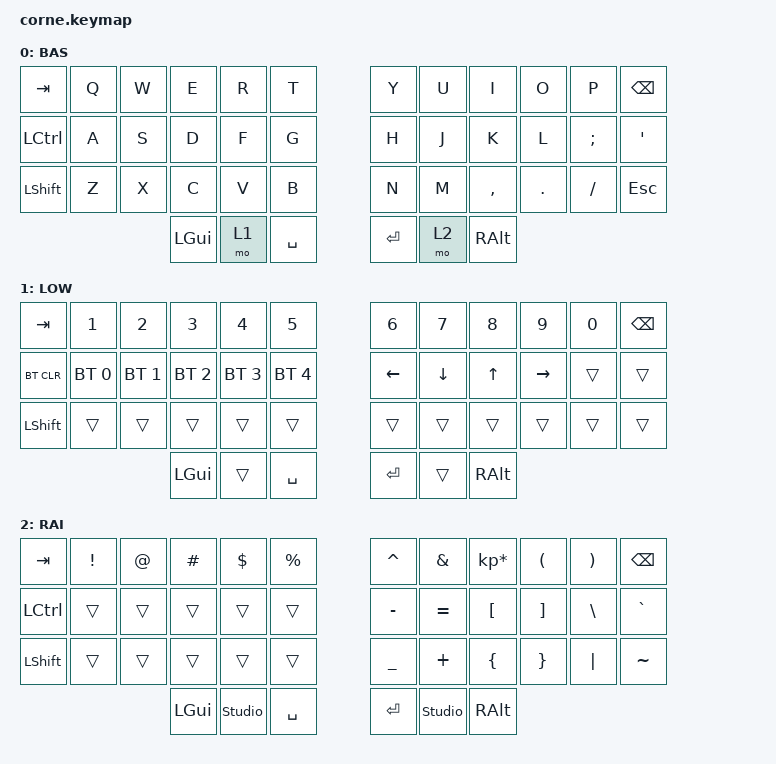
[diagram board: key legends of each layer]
/*
 * Copyright (c) 2020 The ZMK Contributors
 *
 * SPDX-License-Identifier: MIT
 */

#include <behaviors.dtsi>
#include <dt-bindings/zmk/keys.h>
#include <dt-bindings/zmk/bt.h>
#include <dt-bindings/zmk/outputs.h>
#include <dt-bindings/zmk/ext_power.h>
#include <dt-bindings/led/led.h>
#include <dt-bindings/zmk/backlight.h>
#include <dt-bindings/zmk/rgb.h>
#include <dt-bindings/zmk/reset.h>
#include "zmk-helpers/helper.h"

#include "zmk-helpers/key-labels/36.h"                                      // Source key-labels.
#define KEYS_L LT0 LT1 LT2 LT3 LT4 LM0 LM1 LM2 LM3 LM4 LB0 LB1 LB2 LB3 LB4  // Left-hand keys.
#define KEYS_R RT0 RT1 RT2 RT3 RT4 RM0 RM1 RM2 RM3 RM4 RB0 RB1 RB2 RB3 RB4  // Right-hand keys.
#define THUMBS LH2 LH1 LH0 RH0 RH1 RH2                                      // Thumb keys.

/* Left-hand HRMs. */
ZMK_HOLD_TAP(hml,
    flavor = "balanced";
    tapping-term-ms = <280>;
    quick-tap-ms = <175>;
    require-prior-idle-ms = <150>;
    bindings = <&kp>, <&kp>;
    hold-trigger-key-positions = <KEYS_R THUMBS>;
    hold-trigger-on-release;
)

/* Right-hand HRMs. */
ZMK_HOLD_TAP(hmr,
    flavor = "balanced";
    tapping-term-ms = <280>;
    quick-tap-ms = <175>;
    require-prior-idle-ms = <150>;
    bindings = <&kp>, <&kp>;
    hold-trigger-key-positions = <KEYS_L THUMBS>;
    hold-trigger-on-release;
)


/ {
    behaviors {
        hold_tap: hold_tap {
            compatible = "zmk,behavior-hold-tap";
            label = "HOLD_TAP";
            bindings = <&kp>, <&kp>;

            #binding-cells = <2>;
            tapping-term-ms = <200>;
            hold-while-undecided;
            flavor = "balanced";
        };
    };
    
    keymap {
        compatible = "zmk,keymap";

        default_layer {
            display-name = "BAS";
            // -----------------------------------------------------------------------------------------
            // |  TAB |  Q  |  W  |  E  |  R  |  T  |   |  Y  |  U   |  I  |  O  |  P  | BKSP |
            // | CTRL |  A  |  S  |  D  |  F  |  G  |   |  H  |  J   |  K  |  L  |  ;  |  '   |
            // | SHFT |  Z  |  X  |  C  |  V  |  B  |   |  N  |  M   |  ,  |  .  |  /  | ESC  |
            //                    | GUI | LWR | SPC |   | ENT | RSE  | ALT |

            bindings = <
&kp TAB    &kp Q  &kp W  &kp E     &kp R  &kp T        &kp Y    &kp U  &kp I      &kp O    &kp P     &kp BSPC
&kp LCTRL  &kp A  &kp S  &kp D     &kp F  &kp G        &kp H    &kp J  &kp K      &kp L    &kp SEMI  &kp SQT
&kp LSHFT  &kp Z  &kp X  &kp C     &kp V  &kp B        &kp N    &kp M  &kp COMMA  &kp DOT  &kp FSLH  &kp ESC
                         &kp LGUI  &mo 1  &kp SPACE    &kp RET  &mo 2  &kp RALT
            >;
        };

        lower_layer {
            display-name = "LOW";
            // -----------------------------------------------------------------------------------------
            // |  TAB |  1  |  2  |  3  |  4  |  5  |   |  6  |  7  |  8  |  9  |  0  | BKSP |
            // | BTCLR| BT1 | BT2 | BT3 | BT4 | BT5 |   | LFT | DWN |  UP | RGT |     |      |
            // | SHFT |     |     |     |     |     |   |     |     |     |     |     |      |
            //                    | GUI |     | SPC |   | ENT |     | ALT |

            bindings = <
&kp TAB     &kp N1        &kp N2        &kp N3        &kp N4        &kp N5          &kp N6    &kp N7    &kp N8    &kp N9     &kp N0  &kp BSPC
&bt BT_CLR  &bt BT_SEL 0  &bt BT_SEL 1  &bt BT_SEL 2  &bt BT_SEL 3  &bt BT_SEL 4    &kp LEFT  &kp DOWN  &kp UP    &kp RIGHT  &trans  &trans
&kp LSHFT   &trans        &trans        &trans        &trans        &trans          &trans    &trans    &trans    &trans     &trans  &trans
                                        &kp LGUI      &trans        &kp SPACE       &kp RET   &trans    &kp RALT
            >;
        };

        raise_layer {
            display-name = "RAI";
            // -----------------------------------------------------------------------------------------
            // |  TAB |  !  |  @  |  #  |  $  |  %  |   |  ^  |  &  |  *  |  (  |  )  | BKSP |
            // | CTRL |     |     |     |     |     |   |  -  |  =  |  [  |  ]  |  \  |  `   |
            // | SHFT |     |     |     |     |     |   |  _  |  +  |  {  |  }  | "|" |  ~   |
            //                    | GUI |     | SPC |   | ENT |     | ALT |

            bindings = <
&kp TAB    &kp EXCL  &kp AT  &kp HASH   &kp DLLR  &kp PRCNT    &kp CARET  &kp AMPS   &kp KP_MULTIPLY  &kp LPAR  &kp RPAR  &kp BSPC
&kp LCTRL  &trans    &trans  &trans  &trans    &trans    &kp MINUS  &kp EQUAL  &kp LBKT         &kp RBKT  &kp BSLH  &kp GRAVE
&kp LSHFT  &trans    &trans  &trans     &trans    &trans       &kp UNDER  &kp PLUS   &kp LBRC         &kp RBRC  &kp PIPE  &kp TILDE
                             &kp LGUI   &studio_unlock    &kp SPACE    &kp RET    &studio_unlock     &kp RALT
            >;
        };
        extra_1 {
            status = "reserved";
        };

        extra_2 {
            status = "reserved";
        };

        extra_3 {
            status = "reserved";
        };
    };
};
